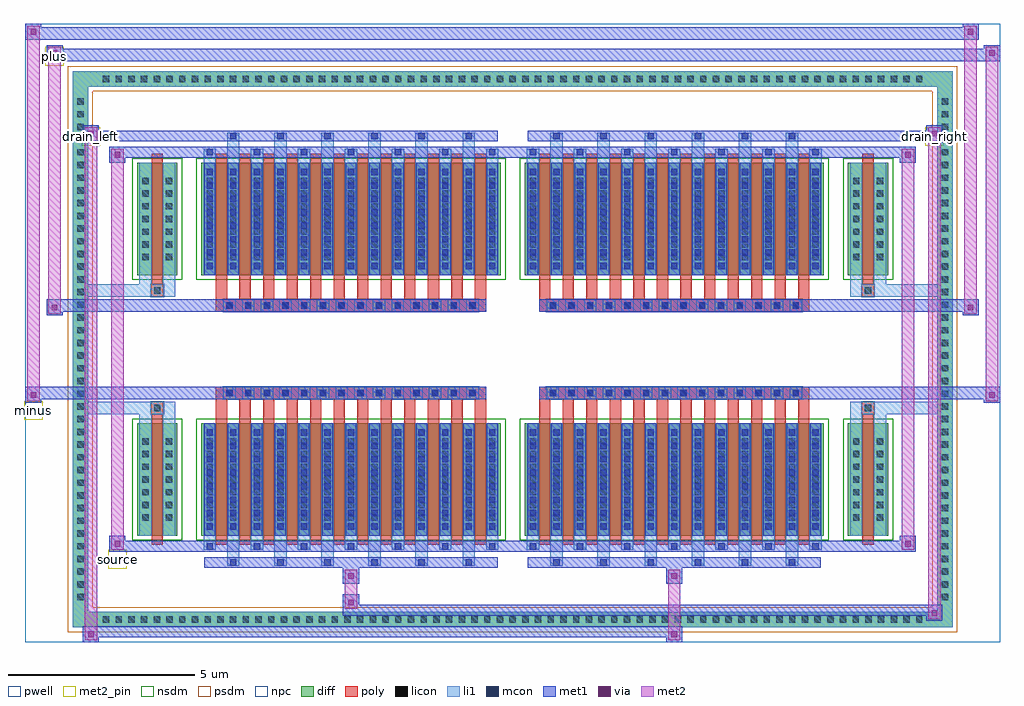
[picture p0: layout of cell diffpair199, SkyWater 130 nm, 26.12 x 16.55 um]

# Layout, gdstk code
import gdstk
lib = gdstk.Library(unit=1e-6, precision=5e-09)
def R(c, l, rs):  # rectangles x0, y0, x1, y1
    for r in rs: c.add(gdstk.rectangle(r[:2], r[2:], *l))
def A(c, l, x, y, w, h, nx, ny, dx, dy):  # array of equal rectangles
    R(c, l, [(x+i*dx, y+j*dy, x+i*dx+w, y+j*dy+h) for i in range(nx) for j in range(ny)])
def P(c, l, *ps):  # polygons
    for p in ps: c.add(gdstk.Polygon(p, *l))
pwell = (64, 44)
diff = (65, 20)
poly = (66, 20)
licon = (66, 44)
li1 = (67, 20)
mcon = (67, 44)
met1 = (68, 20)
via = (68, 44)
met2_pin = (69, 16)
met2 = (69, 20)
nsdm = (93, 44)
psdm = (94, 20)
npc = (95, 20)

diffpair199 = lib.new_cell('diffpair199')
R(diffpair199, pwell, [(-13.04,-7.84,13.04,8.71), (-10.36,-6.03,-0.01,-0.805), (0.01,-6.03,10.36,-0.805), (-10.36,0.805,-0.01,6.03), (0.01,0.805,10.36,6.03)])
A(diffpair199, diff, -11.085, -7.44, 0.41, 0.41, 65, 2, 0.34, 14.47)
A(diffpair199, diff, -11.77, -6.835, 0.41, 0.41, 1, 40, 0, 0.34)
A(diffpair199, diff, 11.36, -6.835, 0.41, 0.41, 1, 40, 0, 0.34)
R(diffpair199, diff, [(-11.085,-7.44,11.085,-7.03), (-11.77,-6.835,-11.36,6.835), (11.36,-6.835,11.77,6.835), (-10.05,-4.985,-8.97,-1.985), (-8.33,-4.985,-0.32,-1.985), (0.32,-4.985,8.33,-1.985), (8.97,-4.985,10.05,-1.985), (-10.05,1.985,-8.97,4.985), (-8.33,1.985,-0.32,4.985), (0.32,1.985,8.33,4.985), (8.97,1.985,10.05,4.985), (-11.085,7.03,11.085,7.44)])
P(diffpair199, diff, [(11.77,7.44),(-11.77,7.44),(-11.77,-7.03),(-11.36,-7.03),(-11.36,7.03),(11.36,7.03),(11.36,-7.03),(-11.36,-7.03),(-11.77,-7.03),(-11.77,-7.44),(11.77,-7.44)])
A(diffpair199, poly, -7.94, -5.235, 0.3, 3.5, 12, 2, 0.63, 6.97)
A(diffpair199, poly, 0.71, -5.235, 0.3, 3.5, 12, 2, 0.63, 6.97)
A(diffpair199, poly, -7.94, -1.735, 0.3, 0.4, 12, 2, 0.63, 3.07)
A(diffpair199, poly, 0.71, -1.735, 0.3, 0.4, 12, 2, 0.63, 3.07)
A(diffpair199, poly, -7.74, -1.335, 0.33, 0.33, 14, 2, 0.5, 2.34)
A(diffpair199, poly, 0.91, -1.335, 0.33, 0.33, 14, 2, 0.5, 2.34)
R(diffpair199, poly, [(-9.66,-5.235,-9.36,-1.735), (9.36,-5.235,9.66,-1.735), (-9.675,-1.735,-9.345,-1.405), (-9.675,-1.735,-9.345,-1.405), (9.345,-1.735,9.675,-1.405), (9.345,-1.735,9.675,-1.405), (-7.94,-1.335,-0.71,-1.005), (0.71,-1.335,7.94,-1.005), (-7.94,1.005,-0.71,1.335), (0.71,1.005,7.94,1.335), (-9.675,1.405,-9.345,1.735), (-9.675,1.405,-9.345,1.735), (9.345,1.405,9.675,1.735), (9.345,1.405,9.675,1.735), (-9.66,1.735,-9.36,5.235), (9.36,1.735,9.66,5.235)])
A(diffpair199, licon, -10.965, -7.32, 0.17, 0.17, 65, 2, 0.34, 14.47)
A(diffpair199, licon, -11.65, -6.715, 0.17, 0.17, 1, 40, 0, 0.34)
A(diffpair199, licon, 11.48, -6.715, 0.17, 0.17, 1, 40, 0, 0.34)
A(diffpair199, licon, -9.91, -4.59, 0.17, 0.17, 1, 7, 0, 0.34)
A(diffpair199, licon, -9.28, -4.59, 0.17, 0.17, 1, 7, 0, 0.34)
A(diffpair199, licon, -8.19, -4.59, 0.17, 0.17, 13, 7, 0.63, 0.34)
A(diffpair199, licon, 0.46, -4.59, 0.17, 0.17, 13, 7, 0.63, 0.34)
A(diffpair199, licon, 9.11, -4.59, 0.17, 0.17, 1, 7, 0, 0.34)
A(diffpair199, licon, 9.74, -4.59, 0.17, 0.17, 1, 7, 0, 0.34)
A(diffpair199, licon, -7.66, -1.255, 0.17, 0.17, 14, 2, 0.5, 2.34)
A(diffpair199, licon, 0.99, -1.255, 0.17, 0.17, 14, 2, 0.5, 2.34)
A(diffpair199, licon, -9.91, 2.38, 0.17, 0.17, 1, 7, 0, 0.34)
A(diffpair199, licon, -9.28, 2.38, 0.17, 0.17, 1, 7, 0, 0.34)
A(diffpair199, licon, -8.19, 2.38, 0.17, 0.17, 13, 7, 0.63, 0.34)
A(diffpair199, licon, 0.46, 2.38, 0.17, 0.17, 13, 7, 0.63, 0.34)
A(diffpair199, licon, 9.11, 2.38, 0.17, 0.17, 1, 7, 0, 0.34)
A(diffpair199, licon, 9.74, 2.38, 0.17, 0.17, 1, 7, 0, 0.34)
R(diffpair199, licon, [(-9.595,-1.655,-9.425,-1.485), (9.425,-1.655,9.595,-1.485), (-9.595,1.485,-9.425,1.655), (9.425,1.485,9.595,1.655)])
A(diffpair199, li1, -11.045, -7.4, 0.33, 0.33, 65, 2, 0.34, 14.47)
A(diffpair199, li1, -11.73, -6.795, 0.33, 0.33, 1, 40, 0, 0.34)
A(diffpair199, li1, 11.4, -6.795, 0.33, 0.33, 1, 40, 0, 0.34)
A(diffpair199, li1, -7.64, -5.79, 0.33, 0.805, 6, 2, 1.26, 10.775)
A(diffpair199, li1, -7.56, -5.79, 0.17, 0.17, 6, 2, 1.26, 11.41)
A(diffpair199, li1, 1.01, -5.79, 0.33, 0.805, 6, 2, 1.26, 10.775)
A(diffpair199, li1, 1.09, -5.79, 0.17, 0.17, 6, 2, 1.26, 11.41)
A(diffpair199, li1, -8.27, -5.36, 0.33, 0.375, 7, 2, 1.26, 10.345)
A(diffpair199, li1, -8.19, -5.36, 0.17, 0.17, 7, 2, 1.26, 10.55)
A(diffpair199, li1, 0.38, -5.36, 0.33, 0.375, 7, 2, 1.26, 10.345)
A(diffpair199, li1, 0.46, -5.36, 0.17, 0.17, 7, 2, 1.26, 10.55)
A(diffpair199, li1, -8.27, -4.985, 0.33, 3, 13, 2, 0.63, 6.97)
A(diffpair199, li1, 0.38, -4.985, 0.33, 3, 13, 2, 0.63, 6.97)
A(diffpair199, li1, -8.19, -4.83, 0.17, 0.17, 13, 8, 0.63, 0.36)
A(diffpair199, li1, -8.19, -4.83, 0.17, 2.69, 13, 2, 0.63, 6.97)
A(diffpair199, li1, 0.46, -4.83, 0.17, 0.17, 13, 8, 0.63, 0.36)
A(diffpair199, li1, 0.46, -4.83, 0.17, 2.69, 13, 2, 0.63, 6.97)
A(diffpair199, li1, -9.99, -4.67, 0.33, 0.33, 1, 7, 0, 0.34)
A(diffpair199, li1, -9.36, -4.67, 0.33, 0.33, 1, 7, 0, 0.34)
A(diffpair199, li1, -8.27, -4.67, 0.33, 0.33, 13, 7, 0.63, 0.34)
A(diffpair199, li1, 0.38, -4.67, 0.33, 0.33, 13, 7, 0.63, 0.34)
A(diffpair199, li1, 9.03, -4.67, 0.33, 0.33, 1, 7, 0, 0.34)
A(diffpair199, li1, 9.66, -4.67, 0.33, 0.33, 1, 7, 0, 0.34)
A(diffpair199, li1, -7.74, -1.335, 0.33, 0.33, 14, 2, 0.5, 2.34)
A(diffpair199, li1, 0.91, -1.335, 0.33, 0.33, 14, 2, 0.5, 2.34)
A(diffpair199, li1, -8.19, 2.14, 0.17, 0.17, 13, 8, 0.63, 0.36)
A(diffpair199, li1, 0.46, 2.14, 0.17, 0.17, 13, 8, 0.63, 0.36)
A(diffpair199, li1, -9.99, 2.3, 0.33, 0.33, 1, 7, 0, 0.34)
A(diffpair199, li1, -9.36, 2.3, 0.33, 0.33, 1, 7, 0, 0.34)
A(diffpair199, li1, -8.27, 2.3, 0.33, 0.33, 13, 7, 0.63, 0.34)
A(diffpair199, li1, 0.38, 2.3, 0.33, 0.33, 13, 7, 0.63, 0.34)
A(diffpair199, li1, 9.03, 2.3, 0.33, 0.33, 1, 7, 0, 0.34)
A(diffpair199, li1, 9.66, 2.3, 0.33, 0.33, 1, 7, 0, 0.34)
R(diffpair199, li1, [(-11.77,-7.44,-11.36,-7.03), (-11.77,-7.44,-11.36,-7.03), (-11.36,-7.44,11.36,-7.03), (11.36,-7.44,11.77,-7.03), (11.36,-7.44,11.77,-7.03), (-11.77,-7.03,-11.36,7.03), (11.36,-7.03,11.77,7.03), (-9.99,-4.985,-9.66,-1.985), (-9.36,-4.985,-9.03,-1.985), (9.03,-4.985,9.36,-1.985), (9.66,-4.985,9.99,-1.985), (-9.99,-1.985,-9.66,-1.405), (-9.36,-1.985,-9.03,-1.405), (9.03,-1.985,9.36,-1.405), (9.66,-1.985,9.99,-1.405), (-11.77,-1.735,-9.675,-1.405), (-9.99,-1.735,-9.675,-1.405), (-9.675,-1.735,-9.345,-1.405), (-9.345,-1.735,-9.03,-1.405), (9.03,-1.735,9.345,-1.405), (9.345,-1.735,9.675,-1.405), (9.345,-1.735,11.77,-1.405), (9.675,-1.735,9.99,-1.405), (-11.77,1.405,-9.675,1.735), (-9.99,1.405,-9.675,1.735), (-9.99,1.405,-9.66,1.985), (-9.675,1.405,-9.345,1.735), (-9.36,1.405,-9.03,1.985), (-9.345,1.405,-9.03,1.735), (9.03,1.405,9.345,1.735), (9.03,1.405,9.36,1.985), (9.345,1.405,9.675,1.735), (9.345,1.405,11.77,1.735), (9.66,1.405,9.99,1.985), (9.675,1.405,9.99,1.735), (-9.99,1.985,-9.66,4.985), (-9.36,1.985,-9.03,4.985), (9.03,1.985,9.36,4.985), (9.66,1.985,9.99,4.985), (-11.77,7.03,-11.36,7.44), (-11.77,7.03,-11.36,7.44), (-11.36,7.03,11.36,7.44), (11.36,7.03,11.77,7.44), (11.36,7.03,11.77,7.44)])
A(diffpair199, mcon, -7.56, -5.79, 0.17, 0.17, 6, 2, 1.26, 11.41)
A(diffpair199, mcon, 1.09, -5.79, 0.17, 0.17, 6, 2, 1.26, 11.41)
A(diffpair199, mcon, -8.19, -5.36, 0.17, 0.17, 7, 2, 1.26, 10.55)
A(diffpair199, mcon, 0.46, -5.36, 0.17, 0.17, 7, 2, 1.26, 10.55)
A(diffpair199, mcon, -8.19, -4.83, 0.17, 0.17, 13, 8, 0.63, 0.36)
A(diffpair199, mcon, 0.46, -4.83, 0.17, 0.17, 13, 8, 0.63, 0.36)
A(diffpair199, mcon, -7.66, -1.255, 0.17, 0.17, 14, 2, 0.5, 2.34)
A(diffpair199, mcon, 0.99, -1.255, 0.17, 0.17, 14, 2, 0.5, 2.34)
A(diffpair199, mcon, -8.19, 2.14, 0.17, 0.17, 13, 8, 0.63, 0.36)
A(diffpair199, mcon, 0.46, 2.14, 0.17, 0.17, 13, 8, 0.63, 0.36)
A(diffpair199, met1, -7.62, -5.85, 0.29, 0.29, 6, 2, 1.26, 11.41)
A(diffpair199, met1, 1.03, -5.85, 0.29, 0.29, 6, 2, 1.26, 11.41)
A(diffpair199, met1, -8.25, -5.42, 0.29, 0.29, 7, 2, 1.26, 10.55)
A(diffpair199, met1, 0.4, -5.42, 0.29, 0.29, 7, 2, 1.26, 10.55)
A(diffpair199, met1, -8.25, -4.985, 0.29, 3, 13, 2, 0.63, 6.97)
A(diffpair199, met1, 0.4, -4.985, 0.29, 3, 13, 2, 0.63, 6.97)
A(diffpair199, met1, -8.25, -4.89, 0.29, 0.29, 13, 8, 0.63, 0.36)
A(diffpair199, met1, 0.4, -4.89, 0.29, 0.29, 13, 8, 0.63, 0.36)
A(diffpair199, met1, -7.72, -1.315, 0.29, 0.29, 14, 2, 0.5, 2.34)
A(diffpair199, met1, 0.93, -1.315, 0.29, 0.29, 14, 2, 0.5, 2.34)
A(diffpair199, met1, -8.25, 2.08, 0.29, 0.29, 13, 8, 0.63, 0.36)
A(diffpair199, met1, 0.4, 2.08, 0.29, 0.29, 13, 8, 0.63, 0.36)
R(diffpair199, met1, [(-11.5,-7.84,-11.07,-7.41), (4.11,-7.84,4.54,-7.41), (-11.5,-7.7,4.54,-7.41), (11.07,-7.27,11.5,-6.84), (-4.54,-7.13,11.5,-6.84), (-4.54,-6.99,-4.11,-6.56), (-4.54,-6.28,-4.11,-5.85), (4.11,-6.28,4.54,-5.85), (-8.25,-5.85,-0.4,-5.56), (0.4,-5.85,8.25,-5.56), (-10.79,-5.42,-10.36,-4.99), (-10.79,-5.42,-8.25,-5.13), (-8.25,-5.42,-0.4,-5.13), (-0.4,-5.42,0.4,-5.13), (0.4,-5.42,8.25,-5.13), (8.25,-5.42,10.79,-5.13), (10.36,-5.42,10.79,-4.99), (-13.04,-1.435,-12.61,-1.005), (12.61,-1.435,13.04,-1.005), (-13.04,-1.335,-0.71,-1.005), (-7.94,-1.335,-0.71,-1.005), (0.71,-1.335,7.94,-1.005), (0.71,-1.335,13.04,-1.005), (-12.47,0.905,-12.04,1.335), (12.04,0.905,12.47,1.335), (-12.47,1.005,-7.94,1.335), (-7.94,1.005,-0.71,1.335), (0.71,1.005,7.94,1.335), (7.94,1.005,12.47,1.335), (-10.79,4.99,-10.36,5.42), (10.36,4.99,10.79,5.42), (-10.79,5.13,-8.25,5.42), (-8.25,5.13,-0.4,5.42), (-0.4,5.13,0.4,5.42), (0.4,5.13,8.25,5.42), (8.25,5.13,10.79,5.42), (-11.5,5.56,-11.07,5.99), (-11.5,5.56,-8.25,5.85), (-8.25,5.56,-0.4,5.85), (0.4,5.56,8.25,5.85), (8.25,5.56,11.5,5.85), (11.07,5.56,11.5,5.99), (-12.47,7.71,-12.04,8.14), (-12.47,7.71,-10.36,8.04), (-10.36,7.71,10.36,8.04), (10.36,7.71,13.04,8.04), (12.61,7.71,13.04,8.14), (-13.04,8.28,-12.61,8.71), (-13.04,8.28,-10.36,8.61), (-10.36,8.28,10.36,8.61), (10.36,8.28,12.47,8.61), (12.04,8.28,12.47,8.71)])
R(diffpair199, via, [(-11.36,-7.7,-11.21,-7.55), (4.25,-7.7,4.4,-7.55), (11.21,-7.13,11.36,-6.98), (-4.4,-6.85,-4.25,-6.7), (-4.4,-6.14,-4.25,-5.99), (4.25,-6.14,4.4,-5.99), (-10.65,-5.28,-10.5,-5.13), (10.5,-5.28,10.65,-5.13), (-12.9,-1.295,-12.75,-1.145), (12.75,-1.295,12.9,-1.145), (-12.33,1.045,-12.18,1.195), (12.18,1.045,12.33,1.195), (-10.65,5.13,-10.5,5.28), (10.5,5.13,10.65,5.28), (-11.36,5.7,-11.21,5.85), (11.21,5.7,11.36,5.85), (-12.33,7.85,-12.18,8), (12.75,7.85,12.9,8), (-12.9,8.42,-12.75,8.57), (12.18,8.42,12.33,8.57)])
R(diffpair199, met2_pin, [(-10.825,-5.87,-10.325,-5.37), (-13.075,-1.885,-12.575,-1.385), (-11.535,5.44,-11.035,5.94), (11.035,5.44,11.535,5.94), (-12.505,7.59,-12.005,8.09)])
R(diffpair199, met2, [(-11.45,-7.79,-11.12,-7.46), (-11.45,-7.79,-11.12,5.94), (4.16,-7.79,4.49,-7.46), (4.16,-7.46,4.49,-6.23), (11.12,-7.22,11.45,-6.89), (11.12,-7.22,11.45,5.94), (-4.49,-6.94,-4.16,-6.61), (-4.49,-6.61,-4.16,-6.23), (-4.49,-6.23,-4.16,-5.9), (4.16,-6.23,4.49,-5.9), (-10.74,-5.37,-10.41,-5.04), (-10.74,-5.37,-10.41,5.37), (10.41,-5.37,10.74,-5.04), (10.41,-5.37,10.74,5.37), (-12.99,-1.385,-12.66,-1.055), (-12.99,-1.385,-12.66,8.66), (12.66,-1.385,12.99,-1.055), (12.66,-1.385,12.99,8.09), (-12.42,0.955,-12.09,1.285), (-12.42,0.955,-12.09,8.09), (12.09,0.955,12.42,1.285), (12.09,0.955,12.42,8.66), (-10.74,5.04,-10.41,5.37), (10.41,5.04,10.74,5.37), (-11.45,5.61,-11.12,5.94), (11.12,5.61,11.45,5.94), (-12.42,7.76,-12.09,8.09), (12.66,7.76,12.99,8.09), (-12.99,8.33,-12.66,8.66), (12.09,8.33,12.42,8.66)])
P(diffpair199, met2, [(12.99,-1.385),(12.99,-1.385),(12.99,-1.055),(12.99,-1.055)],
  [(12.99,7.76),(12.99,7.76),(12.99,8.09),(12.99,8.09)],
  [(-12.66,-1.385),(-12.66,-1.385),(-12.66,-1.055),(-12.66,-1.055)],
  [(-12.66,8.33),(-12.66,8.33),(-12.66,8.66),(-12.66,8.66)],
  [(12.42,0.955),(12.42,0.955),(12.42,1.285),(12.42,1.285)],
  [(12.42,8.33),(12.42,8.33),(12.42,8.66),(12.42,8.66)],
  [(-12.09,0.955),(-12.09,0.955),(-12.09,1.285),(-12.09,1.285)],
  [(-12.09,7.76),(-12.09,7.76),(-12.09,8.09),(-12.09,8.09)],
  [(-11.12,-7.79),(-11.12,-7.79),(-11.12,-7.46),(-11.12,-7.46)],
  [(-11.12,5.61),(-11.12,5.61),(-11.12,5.94),(-11.12,5.94)],
  [(11.45,-7.22),(11.45,-7.22),(11.45,-6.89),(11.45,-6.89)],
  [(11.45,5.61),(11.45,5.61),(11.45,5.94),(11.45,5.94)],
  [(-10.41,-5.37),(-10.41,-5.37),(-10.41,-5.04),(-10.41,-5.04)],
  [(-10.41,5.04),(-10.41,5.04),(-10.41,5.37),(-10.41,5.37)],
  [(10.74,-5.37),(10.74,-5.37),(10.74,-5.04),(10.74,-5.04)],
  [(10.74,5.04),(10.74,5.04),(10.74,5.37),(10.74,5.37)])
R(diffpair199, nsdm, [(-10.18,-5.115,-8.84,-1.855), (-8.46,-5.115,-0.19,-1.855), (0.19,-5.115,8.46,-1.855), (8.84,-5.115,10.18,-1.855), (-10.18,1.855,-8.84,5.115), (-8.46,1.855,-0.19,5.115), (0.19,1.855,8.46,5.115), (8.84,1.855,10.18,5.115)])
P(diffpair199, psdm, [(11.9,7.57),(-11.9,7.57),(-11.9,-6.9),(-11.23,-6.9),(-11.23,6.9),(11.23,6.9),(11.23,-6.9),(-11.23,-6.9),(-11.9,-6.9),(-11.9,-7.57),(11.9,-7.57)])
A(diffpair199, npc, -7.76, -1.355, 0.37, 0.37, 14, 2, 0.5, 2.34)
A(diffpair199, npc, 0.89, -1.355, 0.37, 0.37, 14, 2, 0.5, 2.34)
R(diffpair199, npc, [(-9.695,-1.755,-9.325,-1.385), (9.325,-1.755,9.695,-1.385), (-7.76,-1.355,-6.89,-0.985), (-7.76,-1.355,-6.89,-0.985), (-7.26,-1.355,-6.39,-0.985), (-7.26,-1.355,-6.39,-0.985), (-6.76,-1.355,-5.89,-0.985), (-6.76,-1.355,-5.89,-0.985), (-6.26,-1.355,-5.39,-0.985), (-6.26,-1.355,-5.39,-0.985), (-5.76,-1.355,-4.89,-0.985), (-5.76,-1.355,-4.89,-0.985), (-5.26,-1.355,-4.39,-0.985), (-5.26,-1.355,-4.39,-0.985), (-4.76,-1.355,-3.89,-0.985), (-4.76,-1.355,-3.89,-0.985), (-4.26,-1.355,-3.39,-0.985), (-4.26,-1.355,-3.39,-0.985), (-3.76,-1.355,-2.89,-0.985), (-3.76,-1.355,-2.89,-0.985), (-3.26,-1.355,-2.39,-0.985), (-3.26,-1.355,-2.39,-0.985), (-2.76,-1.355,-1.89,-0.985), (-2.76,-1.355,-1.89,-0.985), (-2.26,-1.355,-1.39,-0.985), (-2.26,-1.355,-1.39,-0.985), (-1.76,-1.355,-0.89,-0.985), (-1.76,-1.355,-0.89,-0.985), (0.89,-1.355,1.76,-0.985), (0.89,-1.355,1.76,-0.985), (1.39,-1.355,2.26,-0.985), (1.39,-1.355,2.26,-0.985), (1.89,-1.355,2.76,-0.985), (1.89,-1.355,2.76,-0.985), (2.39,-1.355,3.26,-0.985), (2.39,-1.355,3.26,-0.985), (2.89,-1.355,3.76,-0.985), (2.89,-1.355,3.76,-0.985), (3.39,-1.355,4.26,-0.985), (3.39,-1.355,4.26,-0.985), (3.89,-1.355,4.76,-0.985), (3.89,-1.355,4.76,-0.985), (4.39,-1.355,5.26,-0.985), (4.39,-1.355,5.26,-0.985), (4.89,-1.355,5.76,-0.985), (4.89,-1.355,5.76,-0.985), (5.39,-1.355,6.26,-0.985), (5.39,-1.355,6.26,-0.985), (5.89,-1.355,6.76,-0.985), (5.89,-1.355,6.76,-0.985), (6.39,-1.355,7.26,-0.985), (6.39,-1.355,7.26,-0.985), (6.89,-1.355,7.76,-0.985), (6.89,-1.355,7.76,-0.985), (-7.76,0.985,-6.89,1.355), (-7.76,0.985,-6.89,1.355), (-7.26,0.985,-6.39,1.355), (-7.26,0.985,-6.39,1.355), (-6.76,0.985,-5.89,1.355), (-6.76,0.985,-5.89,1.355), (-6.26,0.985,-5.39,1.355), (-6.26,0.985,-5.39,1.355), (-5.76,0.985,-4.89,1.355), (-5.76,0.985,-4.89,1.355), (-5.26,0.985,-4.39,1.355), (-5.26,0.985,-4.39,1.355), (-4.76,0.985,-3.89,1.355), (-4.76,0.985,-3.89,1.355), (-4.26,0.985,-3.39,1.355), (-4.26,0.985,-3.39,1.355), (-3.76,0.985,-2.89,1.355), (-3.76,0.985,-2.89,1.355), (-3.26,0.985,-2.39,1.355), (-3.26,0.985,-2.39,1.355), (-2.76,0.985,-1.89,1.355), (-2.76,0.985,-1.89,1.355), (-2.26,0.985,-1.39,1.355), (-2.26,0.985,-1.39,1.355), (-1.76,0.985,-0.89,1.355), (-1.76,0.985,-0.89,1.355), (0.89,0.985,1.76,1.355), (0.89,0.985,1.76,1.355), (1.39,0.985,2.26,1.355), (1.39,0.985,2.26,1.355), (1.89,0.985,2.76,1.355), (1.89,0.985,2.76,1.355), (2.39,0.985,3.26,1.355), (2.39,0.985,3.26,1.355), (2.89,0.985,3.76,1.355), (2.89,0.985,3.76,1.355), (3.39,0.985,4.26,1.355), (3.39,0.985,4.26,1.355), (3.89,0.985,4.76,1.355), (3.89,0.985,4.76,1.355), (4.39,0.985,5.26,1.355), (4.39,0.985,5.26,1.355), (4.89,0.985,5.76,1.355), (4.89,0.985,5.76,1.355), (5.39,0.985,6.26,1.355), (5.39,0.985,6.26,1.355), (5.89,0.985,6.76,1.355), (5.89,0.985,6.76,1.355), (6.39,0.985,7.26,1.355), (6.39,0.985,7.26,1.355), (6.89,0.985,7.76,1.355), (6.89,0.985,7.76,1.355), (-9.695,1.385,-9.325,1.755), (9.325,1.385,9.695,1.755)])
diffpair199.add(gdstk.Label('minus', (-12.825,-1.635), layer=69, texttype=5))
diffpair199.add(gdstk.Label('drain_right', (11.285,5.69), layer=69, texttype=5))
diffpair199.add(gdstk.Label('drain_left', (-11.285,5.69), layer=69, texttype=5))
diffpair199.add(gdstk.Label('source', (-10.575,-5.62), layer=69, texttype=5))
diffpair199.add(gdstk.Label('plus', (-12.255,7.84), layer=69, texttype=5))

lib.write_gds('diffpair199.gds')
